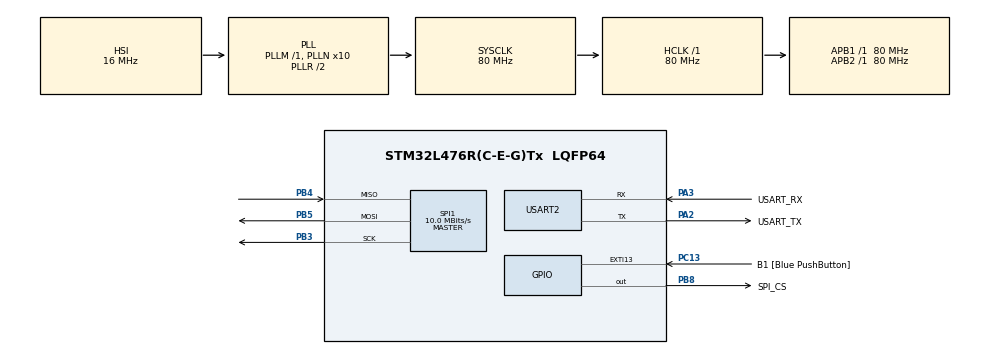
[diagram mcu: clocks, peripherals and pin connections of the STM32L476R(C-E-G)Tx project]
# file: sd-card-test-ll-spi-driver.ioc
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Mcu.Family=STM32L4
PA2.GPIO_PuPd=GPIO_NOPULL
RCC.CortexFreq_Value=80000000
SPI1.VirtualType=VM_MASTER
PH0-OSC_IN\ (PH0).Signal=RCC_OSC_IN
PA3.GPIO_PuPd=GPIO_NOPULL
PA2.GPIO_Speed=GPIO_SPEED_FREQ_VERY_HIGH
PC15-OSC32_OUT\ (PC15).Mode=LSE-External-Oscillator
PC13.GPIO_Label=B1 [Blue PushButton]
PA3.GPIO_Speed=GPIO_SPEED_FREQ_VERY_HIGH
RCC.SYSCLKSource=RCC_SYSCLKSOURCE_PLLCLK
ProjectManager.StackSize=0x400
PB3\ (JTDO-TRACESWO).Signal=SPI1_SCK
PC14-OSC32_IN\ (PC14).Mode=LSE-External-Oscillator
PA14\ (JTCK-SWCLK).Signal=SYS_JTCK-SWCLK
SPI1.Direction=SPI_DIRECTION_2LINES
RCC.HCLKFreq_Value=80000000
RCC.APB2TimFreq_Value=80000000
SPI1.CalculateBaudRate=10.0 MBits/s
RCC.AHBFreq_Value=80000000
RCC.PREFETCH_ENABLE=1
RCC.HSE_VALUE=8000000
USART2.VirtualMode-Asynchronous=VM_ASYNC
PB5.Mode=Full_Duplex_Master
SPI1.DataSize=SPI_DATASIZE_8BIT
PC13.GPIO_PuPd=GPIO_NOPULL
PB8.PinState=GPIO_PIN_SET
Mcu.Package=LQFP64
PA2.GPIO_Label=USART_TX
RCC.APB1TimFreq_Value=80000000
PA13\ (JTMS-SWDIO).Signal=SYS_JTMS-SWDIO
SPI1.BaudRatePrescaler=SPI_BAUDRATEPRESCALER_8
PA3.Signal=USART2_RX
PA2.GPIO_Mode=GPIO_MODE_AF_PP
RCC.MSI_VALUE=4000000
RCC.PLLSourceVirtual=RCC_PLLSOURCE_HSI
PA14\ (JTCK-SWCLK).Mode=Serial_Wire
PC13.Signal=GPXTI13
PC15-OSC32_OUT\ (PC15).Signal=RCC_OSC32_OUT
PA14\ (JTCK-SWCLK).GPIO_Label=TCK
NVIC.USART2_IRQn=true\:0\:0\:false\:false\:true\:true\:true
PH1-OSC_OUT\ (PH1).Signal=RCC_OSC_OUT
PA3.Mode=Asynchronous
PB8.GPIO_Label=SPI_CS
ProjectManager.TargetToolchain=STM32CubeIDE
PA3.GPIO_Mode=GPIO_MODE_AF_PP
RCC.USBFreq_Value=64000000
VP_FATFS_VS_Generic.Mode=User_defined
board=NUCLEO-L476RG
RCC.VCOOutputFreq_Value=160000000
RCC.APB2Freq_Value=80000000
PA13\ (JTMS-SWDIO).GPIO_Label=TMS
SPI1.Mode=SPI_MODE_MASTER
PB3\ (JTDO-TRACESWO).Mode=Full_Duplex_Master
RCC.ADCFreq_Value=64000000
PB4\ (NJTRST).Mode=Full_Duplex_Master
Mcu.Name=STM32L476R(C-E-G)Tx
SPI1.NSSPMode=SPI_NSS_PULSE_DISABLE
PA2.Signal=USART2_TX
PA13\ (JTMS-SWDIO).Mode=Serial_Wire
RCC.SYSCLKFreq_VALUE=80000000
PB5.Signal=SPI1_MOSI
PC13.GPIO_ModeDefaultEXTI=GPIO_MODE_IT_FALLING
PC14-OSC32_IN\ (PC14).Signal=RCC_OSC32_IN
ProjectManager.HeapSize=0x200
RCC.HSI_VALUE=16000000
NVIC.PriorityGroup=NVIC_PRIORITYGROUP_4
RCC.PLLN=10
PA2.Mode=Asynchronous
PB8.Signal=GPIO_Output
RCC.APB1Freq_Value=80000000
PB8.GPIO_Speed=GPIO_SPEED_FREQ_MEDIUM
PA3.GPIO_Label=USART_RX
PB4\ (NJTRST).Signal=SPI1_MISO

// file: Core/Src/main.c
/* USER CODE BEGIN Header */
/**
  ******************************************************************************
  * @file           : main.c
  * @brief          : Main program body
  ******************************************************************************
  * @attention
  *
  * <h2><center>&copy; Copyright (c) 2021 STMicroelectronics.
  * All rights reserved.</center></h2>
  *
  * This software component is licensed by ST under BSD 3-Clause license,
  * the "License"; You may not use this file except in compliance with the
  * License. You may obtain a copy of the License at:
  *                        opensource.org/licenses/BSD-3-Clause
  *
  ******************************************************************************
  */
/* USER CODE END Header */
#include "main.h"
#include "fatfs.h"

/* USER CODE BEGIN Includes */
#include "serial.h"
/* USER CODE END Includes */

/* USER CODE BEGIN PV */
serial_t *console;
/* USER CODE END PV */

void SystemClock_Config(void);
static void MX_GPIO_Init(void);
static void MX_USART2_UART_Init(void);
static void MX_SPI1_Init(void);
/* USER CODE BEGIN PFP */
extern void test_sd_card(void);
/* USER CODE END PFP */

int main(void)
{

  /* MCU Configuration--------------------------------------------------------*/

  /* Reset of all peripherals, Initializes the Flash interface and the Systick. */
  HAL_Init();

  /* Configure the system clock */
  SystemClock_Config();

  /* Initialize all configured peripherals */
  MX_GPIO_Init();
  MX_USART2_UART_Init();
  MX_SPI1_Init();
  MX_FATFS_Init();
  /* USER CODE BEGIN 2 */
  console = serial_init(USART2);
  serial_println(console, "------ SD card tests on Nucleo L476RG ------");

  if (__HAL_RCC_GET_FLAG(RCC_FLAG_BORRST)) {
      serial_println(console, "Brownout Reset");
  }

  if (__HAL_RCC_GET_FLAG(RCC_FLAG_PINRST)) {
      serial_println(console, "Pin Reset");
  }

  if (__HAL_RCC_GET_FLAG(RCC_FLAG_SFTRST)) {
      serial_println(console, "Software Reset");
  }

  if (__HAL_RCC_GET_FLAG(RCC_FLAG_IWDGRST)) {
      serial_println(console, "Independent Watchdog Reset");
  }

  if (__HAL_RCC_GET_FLAG(RCC_FLAG_WWDGRST)) {
      serial_println(console, "Window Watchdog Reset");
  }

  if (__HAL_RCC_GET_FLAG(RCC_FLAG_LPWRRST)) {
      serial_println(console, "Low Power Reset");
  }

  __HAL_RCC_CLEAR_RESET_FLAGS();

  FRESULT fr = f_mount(&USERFatFS, "", 1);
  const char *msg;
  if (fr != FR_OK) {
    msg = "Failed to mount FAT filesystem on SD card ...";
  } else {
    msg = "Mounted FAT filesystem on SD card ...";
    test_sd_card();
  }
  serial_println(console, msg);
  /* USER CODE END 2 */

  /* Infinite loop */
  while (1)
  {

  }
}

void SystemClock_Config(void)
{
  RCC_OscInitTypeDef RCC_OscInitStruct = {0};
  RCC_ClkInitTypeDef RCC_ClkInitStruct = {0};
  RCC_PeriphCLKInitTypeDef PeriphClkInit = {0};

  /** Initializes the RCC Oscillators according to the specified parameters
  * in the RCC_OscInitTypeDef structure.
  */
  RCC_OscInitStruct.OscillatorType = RCC_OSCILLATORTYPE_HSI;
  RCC_OscInitStruct.HSIState = RCC_HSI_ON;
  RCC_OscInitStruct.HSICalibrationValue = RCC_HSICALIBRATION_DEFAULT;
  RCC_OscInitStruct.PLL.PLLState = RCC_PLL_ON;
  RCC_OscInitStruct.PLL.PLLSource = RCC_PLLSOURCE_HSI;
  RCC_OscInitStruct.PLL.PLLM = 1;
  RCC_OscInitStruct.PLL.PLLN = 10;
  RCC_OscInitStruct.PLL.PLLP = RCC_PLLP_DIV7;
  RCC_OscInitStruct.PLL.PLLQ = RCC_PLLQ_DIV2;
  RCC_OscInitStruct.PLL.PLLR = RCC_PLLR_DIV2;
  if (HAL_RCC_OscConfig(&RCC_OscInitStruct) != HAL_OK)
  {
    Error_Handler();
  }
  /** Initializes the CPU, AHB and APB buses clocks
  */
  RCC_ClkInitStruct.ClockType = RCC_CLOCKTYPE_HCLK|RCC_CLOCKTYPE_SYSCLK
                              |RCC_CLOCKTYPE_PCLK1|RCC_CLOCKTYPE_PCLK2;
  RCC_ClkInitStruct.SYSCLKSource = RCC_SYSCLKSOURCE_PLLCLK;
  RCC_ClkInitStruct.AHBCLKDivider = RCC_SYSCLK_DIV1;
  RCC_ClkInitStruct.APB1CLKDivider = RCC_HCLK_DIV1;
  RCC_ClkInitStruct.APB2CLKDivider = RCC_HCLK_DIV1;

  if (HAL_RCC_ClockConfig(&RCC_ClkInitStruct, FLASH_LATENCY_4) != HAL_OK)
  {
    Error_Handler();
  }
  PeriphClkInit.PeriphClockSelection = RCC_PERIPHCLK_USART2;
  PeriphClkInit.Usart2ClockSelection = RCC_USART2CLKSOURCE_PCLK1;
  if (HAL_RCCEx_PeriphCLKConfig(&PeriphClkInit) != HAL_OK)
  {
    Error_Handler();
  }
  /** Configure the main internal regulator output voltage
  */
  if (HAL_PWREx_ControlVoltageScaling(PWR_REGULATOR_VOLTAGE_SCALE1) != HAL_OK)
  {
    Error_Handler();
  }
}

static void MX_SPI1_Init(void)
{

  LL_SPI_InitTypeDef SPI_InitStruct = {0};

  LL_GPIO_InitTypeDef GPIO_InitStruct = {0};

  /* Peripheral clock enable */
  LL_APB2_GRP1_EnableClock(LL_APB2_GRP1_PERIPH_SPI1);

  LL_AHB2_GRP1_EnableClock(LL_AHB2_GRP1_PERIPH_GPIOB);
  /**SPI1 GPIO Configuration
  PB3 (JTDO-TRACESWO)   ------> SPI1_SCK
  PB4 (NJTRST)   ------> SPI1_MISO
  PB5   ------> SPI1_MOSI
  */
  GPIO_InitStruct.Pin = LL_GPIO_PIN_3|LL_GPIO_PIN_4|LL_GPIO_PIN_5;
  GPIO_InitStruct.Mode = LL_GPIO_MODE_ALTERNATE;
  GPIO_InitStruct.Speed = LL_GPIO_SPEED_FREQ_VERY_HIGH;
  GPIO_InitStruct.OutputType = LL_GPIO_OUTPUT_PUSHPULL;
  GPIO_InitStruct.Pull = LL_GPIO_PULL_NO;
  GPIO_InitStruct.Alternate = LL_GPIO_AF_5;
  LL_GPIO_Init(GPIOB, &GPIO_InitStruct);

  /* SPI1 parameter configuration*/
  SPI_InitStruct.TransferDirection = LL_SPI_FULL_DUPLEX;
  SPI_InitStruct.Mode = LL_SPI_MODE_MASTER;
  SPI_InitStruct.DataWidth = LL_SPI_DATAWIDTH_8BIT;
  SPI_InitStruct.ClockPolarity = LL_SPI_POLARITY_LOW;
  SPI_InitStruct.ClockPhase = LL_SPI_PHASE_1EDGE;
  SPI_InitStruct.NSS = LL_SPI_NSS_SOFT;
  SPI_InitStruct.BaudRate = LL_SPI_BAUDRATEPRESCALER_DIV256;
  SPI_InitStruct.BitOrder = LL_SPI_MSB_FIRST;
  SPI_InitStruct.CRCCalculation = LL_SPI_CRCCALCULATION_DISABLE;
  SPI_InitStruct.CRCPoly = 7;
  LL_SPI_Init(SPI1, &SPI_InitStruct);
  LL_SPI_SetStandard(SPI1, LL_SPI_PROTOCOL_MOTOROLA);
  LL_SPI_DisableNSSPulseMgt(SPI1);
  /* USER CODE BEGIN SPI1_Init 2 */
  LL_SPI_Enable(SPI1);
  /* USER CODE END SPI1_Init 2 */

}

static void MX_USART2_UART_Init(void)
{

  LL_USART_InitTypeDef USART_InitStruct = {0};

  LL_GPIO_InitTypeDef GPIO_InitStruct = {0};

  /* Peripheral clock enable */
  LL_APB1_GRP1_EnableClock(LL_APB1_GRP1_PERIPH_USART2);

  LL_AHB2_GRP1_EnableClock(LL_AHB2_GRP1_PERIPH_GPIOA);
  /**USART2 GPIO Configuration
  PA2   ------> USART2_TX
  PA3   ------> USART2_RX
  */
  GPIO_InitStruct.Pin = USART_TX_Pin|USART_RX_Pin;
  GPIO_InitStruct.Mode = LL_GPIO_MODE_ALTERNATE;
  GPIO_InitStruct.Speed = LL_GPIO_SPEED_FREQ_VERY_HIGH;
  GPIO_InitStruct.OutputType = LL_GPIO_OUTPUT_PUSHPULL;
  GPIO_InitStruct.Pull = LL_GPIO_PULL_NO;
  GPIO_InitStruct.Alternate = LL_GPIO_AF_7;
  LL_GPIO_Init(GPIOA, &GPIO_InitStruct);

  /* USART2 interrupt Init */
  NVIC_SetPriority(USART2_IRQn, NVIC_EncodePriority(NVIC_GetPriorityGrouping(),0, 0));
  NVIC_EnableIRQ(USART2_IRQn);

  USART_InitStruct.BaudRate = 115200;
  USART_InitStruct.DataWidth = LL_USART_DATAWIDTH_8B;
  USART_InitStruct.StopBits = LL_USART_STOPBITS_1;
  USART_InitStruct.Parity = LL_USART_PARITY_NONE;
  USART_InitStruct.TransferDirection = LL_USART_DIRECTION_TX_RX;
  USART_InitStruct.HardwareFlowControl = LL_USART_HWCONTROL_NONE;
  USART_InitStruct.OverSampling = LL_USART_OVERSAMPLING_16;
  LL_USART_Init(USART2, &USART_InitStruct);
  LL_USART_ConfigAsyncMode(USART2);
  LL_USART_Enable(USART2);

}

static void MX_GPIO_Init(void)
{
  LL_EXTI_InitTypeDef EXTI_InitStruct = {0};
  LL_GPIO_InitTypeDef GPIO_InitStruct = {0};

  /* GPIO Ports Clock Enable */
  LL_AHB2_GRP1_EnableClock(LL_AHB2_GRP1_PERIPH_GPIOC);
  LL_AHB2_GRP1_EnableClock(LL_AHB2_GRP1_PERIPH_GPIOH);
  LL_AHB2_GRP1_EnableClock(LL_AHB2_GRP1_PERIPH_GPIOA);
  LL_AHB2_GRP1_EnableClock(LL_AHB2_GRP1_PERIPH_GPIOB);

  /**/
  LL_GPIO_SetOutputPin(SPI_CS_GPIO_Port, SPI_CS_Pin);

  /**/
  LL_SYSCFG_SetEXTISource(LL_SYSCFG_EXTI_PORTC, LL_SYSCFG_EXTI_LINE13);

  /**/
  EXTI_InitStruct.Line_0_31 = LL_EXTI_LINE_13;
  EXTI_InitStruct.Line_32_63 = LL_EXTI_LINE_NONE;
  EXTI_InitStruct.LineCommand = ENABLE;
  EXTI_InitStruct.Mode = LL_EXTI_MODE_IT;
  EXTI_InitStruct.Trigger = LL_EXTI_TRIGGER_FALLING;
  LL_EXTI_Init(&EXTI_InitStruct);

  /**/
  LL_GPIO_SetPinPull(B1_GPIO_Port, B1_Pin, LL_GPIO_PULL_NO);

  /**/
  LL_GPIO_SetPinMode(B1_GPIO_Port, B1_Pin, LL_GPIO_MODE_INPUT);

  /**/
  GPIO_InitStruct.Pin = SPI_CS_Pin;
  GPIO_InitStruct.Mode = LL_GPIO_MODE_OUTPUT;
  GPIO_InitStruct.Speed = LL_GPIO_SPEED_FREQ_MEDIUM;
  GPIO_InitStruct.OutputType = LL_GPIO_OUTPUT_PUSHPULL;
  GPIO_InitStruct.Pull = LL_GPIO_PULL_NO;
  LL_GPIO_Init(SPI_CS_GPIO_Port, &GPIO_InitStruct);

}

void Error_Handler(void)
{
  __disable_irq();
  while (1)
  {
  }
}

/************************ (C) COPYRIGHT STMicroelectronics *****END OF FILE****/
